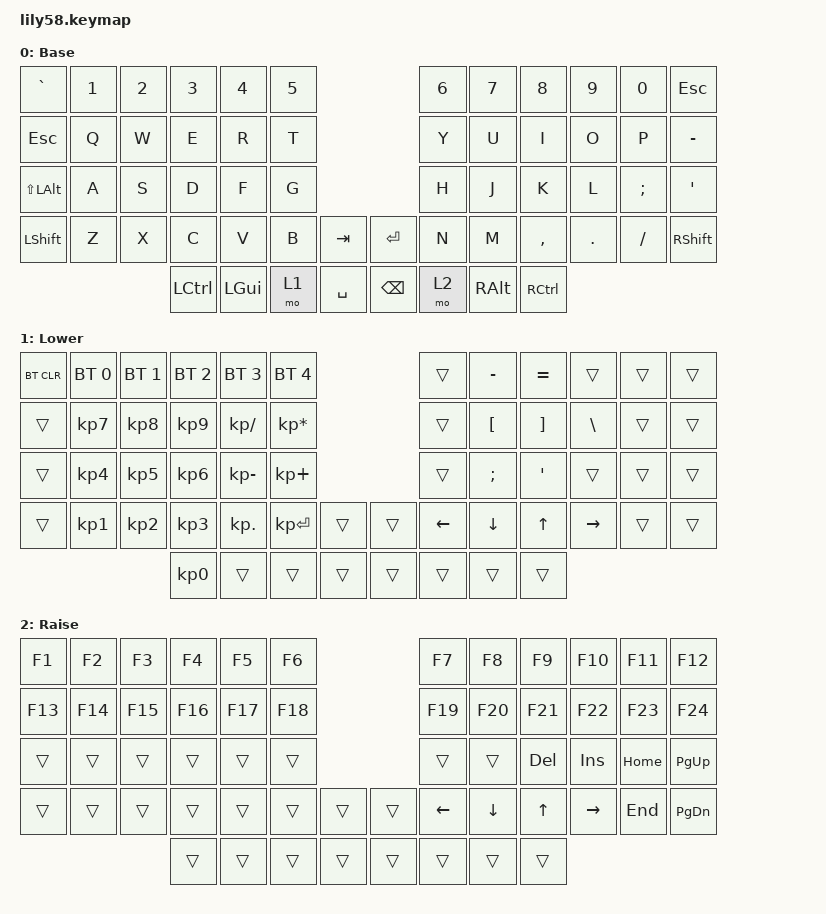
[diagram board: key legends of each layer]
/*
 * Copyright (c) 2020 The ZMK Contributors
 *
 * SPDX-License-Identifier: MIT
 */

#include <behaviors.dtsi>
#include <dt-bindings/zmk/bt.h>
#include <dt-bindings/zmk/keys.h>

/ {
    keymap {
        compatible = "zmk,keymap";

        default_layer {
            // ------------------------------------------------------------------------------------------------------------
            // |  ESC  |  1  |  2  |  3   |  4   |  5   |                   |  6   |  7    |  8    |  9   |   0   |   `   |
            // |  TAB  |  Q  |  W  |  E   |  R   |  T   |                   |  Y   |  U    |  I    |  O   |   P   |   -   |
            // |  CTRL |  A  |  S  |  D   |  F   |  G   |                   |  H   |  J    |  K    |  L   |   ;   |   '   |
            // | SHIFT |  Z  |  X  |  C   |  V   |  B   |   "["  |  |  "]"  |  N   |  M    |  ,    |  .   |   /   | SHIFT |
            //                     | ALT  | GUI  | LOWER|  SPACE |  | ENTER | RAISE| BSPC  | GUI   |

            display-name = "Base";
            bindings = <
&kp GRAVE         &kp N1  &kp N2  &kp N3            &kp N4    &kp N5                              &kp N6  &kp N7         &kp N8             &kp N9   &kp N0    &kp ESCAPE
&kp ESCAPE        &kp Q   &kp W   &kp E             &kp R     &kp T                               &kp Y   &kp U          &kp I              &kp O    &kp P     &kp MINUS
&kp LS(LEFT_ALT)  &kp A   &kp S   &kp D             &kp F     &kp G                               &kp H   &kp J          &kp K              &kp L    &kp SEMI  &kp SQT
&kp LSHFT         &kp Z   &kp X   &kp C             &kp V     &kp B   &kp TAB      &kp ENTER      &kp N   &kp M          &kp COMMA          &kp DOT  &kp FSLH  &kp RSHFT
                                  &kp LEFT_CONTROL  &kp LGUI  &mo 1   &kp SPACE    &kp BACKSPACE  &mo 2   &kp RIGHT_ALT  &kp RIGHT_CONTROL
            >;
        };

        lower_layer {
            // ------------------------------------------------------------------------------------------------------------
            // | BTCLR | BT1 | BT2 |  BT3 |  BT4 |  BT5 |                   |      |       |       |      |       |       |
            // |  F1   |  F2 |  F3 |  F4  |  F5  |  F6  |                   |  F7  |  F8   |  F9   |  F10 |  F11  |  F12  |
            // |   `   |  !  |  @  |  #   |  $   |  %   |                   |  ^   |  &    |  *    |  (   |   )   |   ~   |
            // |       |     |     |      |      |      |        |  |       |      |  _    |  +    |  {   |   }   |  "|"  |
            //                     |      |      |      |        |  |       |      |       |       |

            display-name = "Lower";
            bindings = <
&bt BT_CLR  &bt BT_SEL 0     &bt BT_SEL 1     &bt BT_SEL 2     &bt BT_SEL 3     &bt BT_SEL 4                       &trans    &kp MINUS         &kp EQUAL          &trans         &trans  &trans
&trans      &kp KP_NUMBER_7  &kp KP_NUMBER_8  &kp KP_NUMBER_9  &kp KP_DIVIDE    &kp KP_MULTIPLY                    &trans    &kp LEFT_BRACKET  &kp RIGHT_BRACKET  &kp BACKSLASH  &trans  &trans
&trans      &kp KP_NUMBER_4  &kp KP_NUMBER_5  &kp KP_NUMBER_6  &kp KP_SUBTRACT  &kp KP_PLUS                        &trans    &kp SEMICOLON     &kp SQT            &trans         &trans  &trans
&trans      &kp KP_NUMBER_1  &kp KP_NUMBER_2  &kp KP_NUMBER_3  &kp KP_DOT       &kp KP_ENTER     &trans    &trans  &kp LEFT  &kp DOWN          &kp UP             &kp RIGHT      &trans  &trans
                                              &kp KP_NUMBER_0  &trans           &trans           &trans    &trans  &trans    &trans            &trans
            >;
        };

        raise_layer {
            // ------------------------------------------------------------------------------------------------------------
            // |       |     |     |      |      |      |                   |      |       |       |      |       |       |
            // |   `   |  1  |  2  |  3   |  4   |  5   |                   |  6   |   7   |   8   |  9   |   0   |       |
            // |   F1  |  F2 |  F3 |  F4  |  F5  |  F6  |                   |      |   <-  |   v   |  ^   |  ->   |       |
            // |   F7  |  F8 |  F9 |  F10 |  F11 |  F12 |        |  |       |  +   |   -   |   =   |  [   |   ]   |   \   |
            //                     |      |      |      |        |  |       |      |       |       |

            display-name = "Raise";
            bindings = <
&kp F1   &kp F2   &kp F3   &kp F4   &kp F5   &kp F6                     &kp F7    &kp F8    &kp F9        &kp F10          &kp F11   &kp F12
&kp F13  &kp F14  &kp F15  &kp F16  &kp F17  &kp F18                    &kp F19   &kp F20   &kp F21       &kp F22          &kp F23   &kp F24
&trans   &trans   &trans   &trans   &trans   &trans                     &trans    &trans    &kp DELETE    &kp INSERT       &kp HOME  &kp PAGE_UP
&trans   &trans   &trans   &trans   &trans   &trans   &trans    &trans  &kp LEFT  &kp DOWN  &kp UP_ARROW  &kp RIGHT_ARROW  &kp END   &kp PAGE_DOWN
                           &trans   &trans   &trans   &trans    &trans  &trans    &trans    &trans
            >;
        };
    };
};
